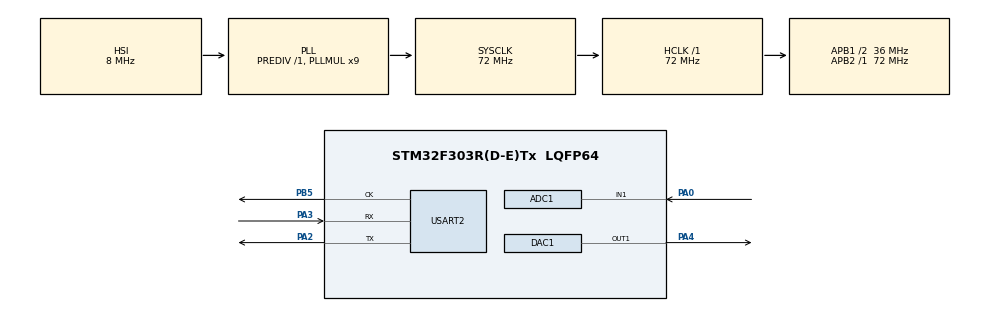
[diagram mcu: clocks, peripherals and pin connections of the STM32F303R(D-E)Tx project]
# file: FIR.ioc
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ADC1.Channel-0\#ChannelRegularConversion=ADC_CHANNEL_1
ADC1.NbrOfConversion=1
ADC1.NbrOfConversionFlag=1
ADC1.Offset-0\#ChannelRegularConversion=0
ADC1.OffsetNumber-0\#ChannelRegularConversion=ADC_OFFSET_NONE
ADC1.Rank-0\#ChannelRegularConversion=1
ADC1.SamplingTime-0\#ChannelRegularConversion=ADC_SAMPLETIME_1CYCLE_5
ADC1.master=1
Dma.ADC1.0.Direction=DMA_PERIPH_TO_MEMORY
Dma.ADC1.0.Instance=DMA1_Channel1
Dma.ADC1.0.MemDataAlignment=DMA_MDATAALIGN_HALFWORD
Dma.ADC1.0.MemInc=DMA_MINC_ENABLE
Dma.ADC1.0.Mode=DMA_NORMAL
Dma.ADC1.0.PeriphDataAlignment=DMA_PDATAALIGN_HALFWORD
Dma.ADC1.0.PeriphInc=DMA_PINC_DISABLE
Dma.ADC1.0.Priority=DMA_PRIORITY_LOW
Dma.Request0=ADC1
Mcu.Family=STM32F3
Mcu.Name=STM32F303R(D-E)Tx
Mcu.Package=LQFP64
NVIC.DMA1_Channel1_IRQn=true\:0\:0\:false\:false\:true\:false\:true\:true
NVIC.PriorityGroup=NVIC_PRIORITYGROUP_4
PA0.Mode=IN1-Single-Ended
PA0.Signal=ADC1_IN1
PA2.Mode=Synchronous
PA2.Signal=USART2_TX
PA3.Mode=Synchronous
PA3.Signal=USART2_RX
PA4.Signal=COMP_DAC11_group
PB5.Mode=Synchronous
PB5.Signal=USART2_CK
ProjectManager.HeapSize=0x200
ProjectManager.StackSize=0x400
ProjectManager.TargetToolchain=STM32CubeIDE
RCC.AHBFreq_Value=72000000
RCC.APB1CLKDivider=RCC_HCLK_DIV2
RCC.APB1Freq_Value=36000000
RCC.APB1TimFreq_Value=72000000
RCC.APB2Freq_Value=72000000
RCC.APB2TimFreq_Value=72000000
RCC.CortexFreq_Value=72000000
RCC.HCLKFreq_Value=72000000
RCC.HSE_VALUE=8000000
RCC.HSI_VALUE=8000000
RCC.LSE_VALUE=32768
RCC.PLLMUL=RCC_PLL_MUL9
RCC.SYSCLKFreq_VALUE=72000000
RCC.SYSCLKSourceVirtual=RCC_SYSCLKSOURCE_PLLCLK
RCC.USBFreq_Value=72000000
SH.COMP_DAC11_group.0=DAC1_OUT1,DAC_OUT1
TIM2.Prescaler=1499
USART2.VirtualMode-Synchronous=VM_SYNC
VP_TIM2_VS_ClockSourceINT.Mode=Internal
board=custom

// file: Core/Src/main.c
/* USER CODE BEGIN Header */
/**
  ******************************************************************************
  * @file           : main.c
  * @brief          : Main program body
  ******************************************************************************
  * @attention
  *
  * Copyright (c) 2022 STMicroelectronics.
  * All rights reserved.
  *
  * This software is licensed under terms that can be found in the LICENSE file
  * in the root directory of this software component.
  * If no LICENSE file comes with this software, it is provided AS-IS.
  *
  ******************************************************************************
  */
/* USER CODE END Header */
#include "main.h"

/* USER CODE BEGIN Includes */

#define ARM_MATH_CM4
#include <string.h>
#include <stdio.h>
#include <math.h>
#include "arm_math.h"

/* USER CODE END Includes */

/* USER CODE BEGIN PD */
#define buff_len (50)
#define Testlengthsamples (1)
#define Blocksize (1)
#define num_taps 4
#define order 6
/* USER CODE END PD */

 ADC_HandleTypeDef hadc1;
DMA_HandleTypeDef hdma_adc1;

DAC_HandleTypeDef hdac1;

TIM_HandleTypeDef htim2;

USART_HandleTypeDef husart2;

/* USER CODE BEGIN PV */
volatile uint16_t adc_result_dma[1];
const int adc_channel_count = sizeof(adc_result_dma)/sizeof(adc_result_dma[0]);
volatile int adc_conversion_complete = 0;
char tx_buff[buff_len];
uint16_t dac_value;
float32_t signal_in = 0;
float32_t signal_out = 0;
arm_fir_instance_f32 S;
//static float32_t fir_state_f32[Blocksize+num_taps-1];
//static float32_t firCoeffs[num_taps] = {+0.0036977508f, +0.0000000000f, -0.0015879294f, -0.0018225230f};
uint32_t block_size = Blocksize;
uint32_t test_length_samples = Testlengthsamples;
uint32_t num_block = 1;
uint16_t x[order];
// hamming cut-off at 6kHz
static float32_t cof[order] = {0.027123896788725128381702944579956238158,
		0.141326994565558722305453898115956690162,
		0.331549108645716184007312676840228959918,
		0.331549108645716184007312676840228959918,
		0.141326994565558722305453898115956690162,
		0.027123896788725128381702944579956238158};
float y;
/* USER CODE END PV */

void SystemClock_Config(void);
static void MX_GPIO_Init(void);
static void MX_DMA_Init(void);
static void MX_ADC1_Init(void);
static void MX_DAC1_Init(void);
static void MX_TIM2_Init(void);
static void MX_USART2_Init(void);

int main(void)
{

  /* MCU Configuration--------------------------------------------------------*/

  /* Reset of all peripherals, Initializes the Flash interface and the Systick. */
  HAL_Init();

  /* Configure the system clock */
  SystemClock_Config();

  /* Initialize all configured peripherals */
  MX_GPIO_Init();
  MX_DMA_Init();
  MX_ADC1_Init();
  MX_DAC1_Init();
  MX_TIM2_Init();
  MX_USART2_Init();
  /* USER CODE BEGIN 2 */
  HAL_DAC_Start(&hdac1,DAC_CHANNEL_1);
  HAL_TIM_Base_Start(&htim2);

  /* USER CODE END 2 */

  /* Infinite loop */
  /* USER CODE BEGIN WHILE */
  while (1)
  {
//	  HAL_USART_Transmit(&husart2, "Hello", 6, HAL_MAX_DELAY);
    /* USER CODE END WHILE */

    /* USER CODE BEGIN 3 */
//	  arm_fir_init_f32(&S, num_taps, (float32_t*)&firCoeffs[0], (float32_t*)&fir_state_f32[0], block_size);
	  __HAL_TIM_SET_COUNTER(&htim2,0);
	  HAL_ADC_Start_DMA(&hadc1, (uint16_t*)adc_result_dma, adc_channel_count); //set adc
	  while(adc_conversion_complete == 0) {

	  }
	  adc_conversion_complete = 0;
	  x[order-1] = adc_result_dma[0];

	  HAL_DAC_SetValue(&hdac1, DAC_CHANNEL_1, DAC_ALIGN_12B_R, (int)y);
	  while(__HAL_TIM_GET_COUNTER(&htim2) < 1){

	  }
//	  snprintf(tx_buff, buff_len, "CH1: %d   CH2: %d   dac: %d  t: %d\r\n", adc_result_dma[0], 0, (int)y, __HAL_TIM_GET_COUNTER(&htim2));
//	  HAL_USART_Transmit(&husart2, (uint8_t*)tx_buff, strlen(tx_buff), HAL_MAX_DELAY);
  }
  /* USER CODE END 3 */
}

void SystemClock_Config(void)
{
  RCC_OscInitTypeDef RCC_OscInitStruct = {0};
  RCC_ClkInitTypeDef RCC_ClkInitStruct = {0};
  RCC_PeriphCLKInitTypeDef PeriphClkInit = {0};

  /** Initializes the RCC Oscillators according to the specified parameters
  * in the RCC_OscInitTypeDef structure.
  */
  RCC_OscInitStruct.OscillatorType = RCC_OSCILLATORTYPE_HSI;
  RCC_OscInitStruct.HSIState = RCC_HSI_ON;
  RCC_OscInitStruct.HSICalibrationValue = RCC_HSICALIBRATION_DEFAULT;
  RCC_OscInitStruct.PLL.PLLState = RCC_PLL_ON;
  RCC_OscInitStruct.PLL.PLLSource = RCC_PLLSOURCE_HSI;
  RCC_OscInitStruct.PLL.PLLMUL = RCC_PLL_MUL9;
  RCC_OscInitStruct.PLL.PREDIV = RCC_PREDIV_DIV1;
  if (HAL_RCC_OscConfig(&RCC_OscInitStruct) != HAL_OK)
  {
    Error_Handler();
  }

  /** Initializes the CPU, AHB and APB buses clocks
  */
  RCC_ClkInitStruct.ClockType = RCC_CLOCKTYPE_HCLK|RCC_CLOCKTYPE_SYSCLK
                              |RCC_CLOCKTYPE_PCLK1|RCC_CLOCKTYPE_PCLK2;
  RCC_ClkInitStruct.SYSCLKSource = RCC_SYSCLKSOURCE_PLLCLK;
  RCC_ClkInitStruct.AHBCLKDivider = RCC_SYSCLK_DIV1;
  RCC_ClkInitStruct.APB1CLKDivider = RCC_HCLK_DIV2;
  RCC_ClkInitStruct.APB2CLKDivider = RCC_HCLK_DIV1;

  if (HAL_RCC_ClockConfig(&RCC_ClkInitStruct, FLASH_LATENCY_2) != HAL_OK)
  {
    Error_Handler();
  }
  PeriphClkInit.PeriphClockSelection = RCC_PERIPHCLK_USART2|RCC_PERIPHCLK_ADC12
                              |RCC_PERIPHCLK_TIM2;
  PeriphClkInit.Usart2ClockSelection = RCC_USART2CLKSOURCE_PCLK1;
  PeriphClkInit.Adc12ClockSelection = RCC_ADC12PLLCLK_DIV1;
  PeriphClkInit.Tim2ClockSelection = RCC_TIM2CLK_HCLK;
  if (HAL_RCCEx_PeriphCLKConfig(&PeriphClkInit) != HAL_OK)
  {
    Error_Handler();
  }
}

static void MX_ADC1_Init(void)
{

  ADC_MultiModeTypeDef multimode = {0};
  ADC_ChannelConfTypeDef sConfig = {0};

  /** Common config
  */
  hadc1.Instance = ADC1;
  hadc1.Init.ClockPrescaler = ADC_CLOCK_ASYNC_DIV1;
  hadc1.Init.Resolution = ADC_RESOLUTION_12B;
  hadc1.Init.ScanConvMode = ADC_SCAN_DISABLE;
  hadc1.Init.ContinuousConvMode = DISABLE;
  hadc1.Init.DiscontinuousConvMode = DISABLE;
  hadc1.Init.ExternalTrigConvEdge = ADC_EXTERNALTRIGCONVEDGE_NONE;
  hadc1.Init.ExternalTrigConv = ADC_SOFTWARE_START;
  hadc1.Init.DataAlign = ADC_DATAALIGN_RIGHT;
  hadc1.Init.NbrOfConversion = 1;
  hadc1.Init.DMAContinuousRequests = DISABLE;
  hadc1.Init.EOCSelection = ADC_EOC_SINGLE_CONV;
  hadc1.Init.LowPowerAutoWait = DISABLE;
  hadc1.Init.Overrun = ADC_OVR_DATA_OVERWRITTEN;
  if (HAL_ADC_Init(&hadc1) != HAL_OK)
  {
    Error_Handler();
  }

  /** Configure the ADC multi-mode
  */
  multimode.Mode = ADC_MODE_INDEPENDENT;
  if (HAL_ADCEx_MultiModeConfigChannel(&hadc1, &multimode) != HAL_OK)
  {
    Error_Handler();
  }

  /** Configure Regular Channel
  */
  sConfig.Channel = ADC_CHANNEL_1;
  sConfig.Rank = ADC_REGULAR_RANK_1;
  sConfig.SingleDiff = ADC_SINGLE_ENDED;
  sConfig.SamplingTime = ADC_SAMPLETIME_1CYCLE_5;
  sConfig.OffsetNumber = ADC_OFFSET_NONE;
  sConfig.Offset = 0;
  if (HAL_ADC_ConfigChannel(&hadc1, &sConfig) != HAL_OK)
  {
    Error_Handler();
  }

}

static void MX_DAC1_Init(void)
{

  DAC_ChannelConfTypeDef sConfig = {0};

  /** DAC Initialization
  */
  hdac1.Instance = DAC1;
  if (HAL_DAC_Init(&hdac1) != HAL_OK)
  {
    Error_Handler();
  }

  /** DAC channel OUT1 config
  */
  sConfig.DAC_Trigger = DAC_TRIGGER_NONE;
  sConfig.DAC_OutputBuffer = DAC_OUTPUTBUFFER_ENABLE;
  if (HAL_DAC_ConfigChannel(&hdac1, &sConfig, DAC_CHANNEL_1) != HAL_OK)
  {
    Error_Handler();
  }

}

static void MX_TIM2_Init(void)
{

  TIM_ClockConfigTypeDef sClockSourceConfig = {0};
  TIM_MasterConfigTypeDef sMasterConfig = {0};

  htim2.Instance = TIM2;
  htim2.Init.Prescaler = 1499;
  htim2.Init.CounterMode = TIM_COUNTERMODE_UP;
  htim2.Init.Period = 4294967295;
  htim2.Init.ClockDivision = TIM_CLOCKDIVISION_DIV1;
  htim2.Init.AutoReloadPreload = TIM_AUTORELOAD_PRELOAD_DISABLE;
  if (HAL_TIM_Base_Init(&htim2) != HAL_OK)
  {
    Error_Handler();
  }
  sClockSourceConfig.ClockSource = TIM_CLOCKSOURCE_INTERNAL;
  if (HAL_TIM_ConfigClockSource(&htim2, &sClockSourceConfig) != HAL_OK)
  {
    Error_Handler();
  }
  sMasterConfig.MasterOutputTrigger = TIM_TRGO_RESET;
  sMasterConfig.MasterSlaveMode = TIM_MASTERSLAVEMODE_DISABLE;
  if (HAL_TIMEx_MasterConfigSynchronization(&htim2, &sMasterConfig) != HAL_OK)
  {
    Error_Handler();
  }

}

static void MX_USART2_Init(void)
{

  husart2.Instance = USART2;
  husart2.Init.BaudRate = 38400;
  husart2.Init.WordLength = USART_WORDLENGTH_8B;
  husart2.Init.StopBits = USART_STOPBITS_1;
  husart2.Init.Parity = USART_PARITY_NONE;
  husart2.Init.Mode = USART_MODE_TX_RX;
  husart2.Init.CLKPolarity = USART_POLARITY_LOW;
  husart2.Init.CLKPhase = USART_PHASE_1EDGE;
  husart2.Init.CLKLastBit = USART_LASTBIT_DISABLE;
  if (HAL_USART_Init(&husart2) != HAL_OK)
  {
    Error_Handler();
  }

}

static void MX_DMA_Init(void)
{

  /* DMA controller clock enable */
  __HAL_RCC_DMA1_CLK_ENABLE();

  /* DMA interrupt init */
  /* DMA1_Channel1_IRQn interrupt configuration */
  HAL_NVIC_SetPriority(DMA1_Channel1_IRQn, 0, 0);
  HAL_NVIC_EnableIRQ(DMA1_Channel1_IRQn);

}

static void MX_GPIO_Init(void)
{

  /* GPIO Ports Clock Enable */
  __HAL_RCC_GPIOA_CLK_ENABLE();
  __HAL_RCC_GPIOB_CLK_ENABLE();

}

/* USER CODE BEGIN 4 */
void HAL_ADC_ConvCpltCallback(ADC_HandleTypeDef *hadc) {
	adc_conversion_complete = 1;
	y = 0;
	for(uint16_t i = 0; i < order; i++) {
		y = y + x[i] * cof[order-i-1];
		if(i != order-1) {
			x[i] = x[i+1];
		}
	}
//	signal_in = (float32_t)adc_result_dma[0];
//	arm_fir_f32(&S, &signal_in, &signal_out, block_size);
//	dac_value[0] = (uint16_t)signal_out; //signal_out;
}

/* USER CODE END 4 */

void Error_Handler(void)
{
  __disable_irq();
  while (1)
  {
  }
}
